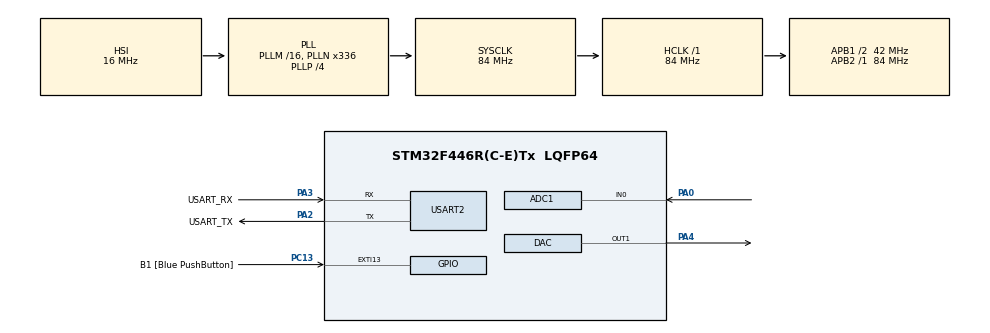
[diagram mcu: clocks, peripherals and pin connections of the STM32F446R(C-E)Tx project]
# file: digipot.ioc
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ADC1.Channel-0\#ChannelRegularConversion=ADC_CHANNEL_0
ADC1.ContinuousConvMode=ENABLE
ADC1.DMAContinuousRequests=ENABLE
ADC1.NbrOfConversionFlag=1
ADC1.Rank-0\#ChannelRegularConversion=1
ADC1.SamplingTime-0\#ChannelRegularConversion=ADC_SAMPLETIME_84CYCLES
ADC1.master=1
Dma.ADC1.0.Direction=DMA_PERIPH_TO_MEMORY
Dma.ADC1.0.FIFOMode=DMA_FIFOMODE_DISABLE
Dma.ADC1.0.Instance=DMA2_Stream0
Dma.ADC1.0.MemDataAlignment=DMA_MDATAALIGN_HALFWORD
Dma.ADC1.0.MemInc=DMA_MINC_ENABLE
Dma.ADC1.0.Mode=DMA_CIRCULAR
Dma.ADC1.0.PeriphDataAlignment=DMA_PDATAALIGN_HALFWORD
Dma.ADC1.0.PeriphInc=DMA_PINC_DISABLE
Dma.ADC1.0.Priority=DMA_PRIORITY_LOW
Dma.Request0=ADC1
Dma.Request1=USART2_RX
Dma.USART2_RX.1.Direction=DMA_PERIPH_TO_MEMORY
Dma.USART2_RX.1.FIFOMode=DMA_FIFOMODE_DISABLE
Dma.USART2_RX.1.Instance=DMA1_Stream5
Dma.USART2_RX.1.MemDataAlignment=DMA_MDATAALIGN_BYTE
Dma.USART2_RX.1.MemInc=DMA_MINC_ENABLE
Dma.USART2_RX.1.Mode=DMA_NORMAL
Dma.USART2_RX.1.PeriphDataAlignment=DMA_PDATAALIGN_BYTE
Dma.USART2_RX.1.PeriphInc=DMA_PINC_DISABLE
Dma.USART2_RX.1.Priority=DMA_PRIORITY_LOW
Mcu.Family=STM32F4
Mcu.Name=STM32F446R(C-E)Tx
Mcu.Package=LQFP64
NVIC.DMA1_Stream5_IRQn=true\:0\:0\:false\:false\:true\:false\:true\:true
NVIC.DMA2_Stream0_IRQn=true\:0\:0\:false\:false\:true\:false\:true\:true
NVIC.PriorityGroup=NVIC_PRIORITYGROUP_0
NVIC.TIM6_DAC_IRQn=true\:0\:0\:false\:false\:true\:true\:true\:true
NVIC.USART2_IRQn=true\:0\:0\:false\:false\:true\:true\:true\:true
PA0-WKUP.Signal=ADCx_IN0
PA13.GPIO_Label=TMS
PA13.Mode=Serial_Wire
PA13.Signal=SYS_JTMS-SWDIO
PA14.GPIO_Label=TCK
PA14.Mode=Serial_Wire
PA14.Signal=SYS_JTCK-SWCLK
PA2.GPIO_Label=USART_TX
PA2.Mode=Asynchronous
PA2.Signal=USART2_TX
PA3.GPIO_Label=USART_RX
PA3.Mode=Asynchronous
PA3.Signal=USART2_RX
PA4.Signal=COMP_DAC1_group
PA5.Signal=COMP_DAC2_group
PB3.GPIO_Label=SWO
PB3.Signal=SYS_JTDO-SWO
PC13.GPIO_Label=B1 [Blue PushButton]
PC13.GPIO_ModeDefaultEXTI=GPIO_MODE_IT_FALLING
PC13.Signal=GPXTI13
PC14-OSC32_IN.Mode=LSE-External-Oscillator
PC14-OSC32_IN.Signal=RCC_OSC32_IN
PC15-OSC32_OUT.Mode=LSE-External-Oscillator
PC15-OSC32_OUT.Signal=RCC_OSC32_OUT
PH0-OSC_IN.Mode=HSE-External-Oscillator
PH0-OSC_IN.Signal=RCC_OSC_IN
PH1-OSC_OUT.Mode=HSE-External-Oscillator
PH1-OSC_OUT.Signal=RCC_OSC_OUT
ProjectManager.HeapSize=0x200
ProjectManager.StackSize=0x400
ProjectManager.TargetToolchain=STM32CubeIDE
RCC.48MHZClocksFreq_Value=84000000
RCC.AHBFreq_Value=84000000
RCC.APB1CLKDivider=RCC_HCLK_DIV2
RCC.APB1Freq_Value=42000000
RCC.APB1TimFreq_Value=84000000
RCC.APB2Freq_Value=84000000
RCC.APB2TimFreq_Value=84000000
RCC.CortexFreq_Value=84000000
RCC.FLatency-AdvancedSettings=FLASH_LATENCY_2
RCC.HCLKFreq_Value=84000000
RCC.HSE_VALUE=8000000
RCC.HSI_VALUE=16000000
RCC.PLLN=336
RCC.PLLP=RCC_PLLP_DIV4
RCC.SYSCLKFreq_VALUE=84000000
RCC.SYSCLKSource=RCC_SYSCLKSOURCE_PLLCLK
RCC.USBFreq_Value=168000000
RCC.VCOOutputFreq_Value=336000000
SH.ADCx_IN0.0=ADC1_IN0,IN0
SH.COMP_DAC1_group.0=DAC_OUT1,DAC_OUT1
SH.COMP_DAC2_group.0=DAC_OUT2
USART2.VirtualMode=VM_ASYNC
board=NUCLEO-F446RE

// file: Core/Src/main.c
/* USER CODE BEGIN Header */
/**
  ******************************************************************************
  * @file           : main.c
  * @brief          : Main program body
  ******************************************************************************
  * @attention
  *
  * Copyright (c) 2026 STMicroelectronics.
  * All rights reserved.
  *
  * This software is licensed under terms that can be found in the LICENSE file
  * in the root directory of this software component.
  * If no LICENSE file comes with this software, it is provided AS-IS.
  *
  ******************************************************************************
  */
/* USER CODE END Header */
#include "main.h"

/* USER CODE BEGIN Includes */
#include <stdio.h>
#include <string.h>
/* USER CODE END Includes */

/* USER CODE BEGIN PD */

#define ADC_BUFFER_SIZE        32
#define DAC_MAX_VALUE          255
#define STABILITY_THRESHOLD    5

/* USER CODE END PD */

ADC_HandleTypeDef hadc1;
DMA_HandleTypeDef hdma_adc1;

DAC_HandleTypeDef hdac;

UART_HandleTypeDef huart2;
DMA_HandleTypeDef hdma_usart2_rx;

/* USER CODE BEGIN PV */

uint16_t adc_buffer[ADC_BUFFER_SIZE];
float resistance_lut[256];
char tx_buffer[128];
uint8_t rx_byte;
uint8_t calibration_requested = 0;
uint8_t test_requested = 0;
uint8_t enter_received = 0;

/* USER CODE END PV */

void SystemClock_Config(void);
static void MX_GPIO_Init(void);
static void MX_DMA_Init(void);
static void MX_USART2_UART_Init(void);
static void MX_ADC1_Init(void);
static void MX_DAC_Init(void);

/* USER CODE BEGIN 0 */

/* Sets the DAC output value using 8-bit right alignment */
void set_dac(uint8_t value)
{
    HAL_DAC_SetValue(&hdac,
                     DAC_CHANNEL_1,
					 DAC_ALIGN_8B_R,
                     value);
}

/* Sends a string through UART */
void uart_print(char *msg)
{
    HAL_UART_Transmit(&huart2,
                      (uint8_t*)msg,
                      strlen(msg),
                      HAL_MAX_DELAY);
}

/* Calculates the average value of the ADC buffer */
uint16_t adc_average(void)
{
    uint32_t sum = 0;

    for(int i = 0; i < ADC_BUFFER_SIZE; i++)
    {
        sum += adc_buffer[i];
    }

    return sum / ADC_BUFFER_SIZE;
}

/* Returns the maximum ADC value inside the buffer */
uint16_t adc_max(void)
{
    uint16_t max = adc_buffer[0];

    for(int i = 1; i < ADC_BUFFER_SIZE; i++)
    {
        if(adc_buffer[i] > max)
        {
            max = adc_buffer[i];
        }
    }

    return max;
}

/* Returns the minimum ADC value inside the buffer */
uint16_t adc_min(void)
{
    uint16_t min = adc_buffer[0];

    for(int i = 1; i < ADC_BUFFER_SIZE; i++)
    {
        if(adc_buffer[i] < min)
        {
            min = adc_buffer[i];
        }
    }

    return min;
}

/* Checks if the ADC readings are stable */
uint8_t adc_is_stable(void)
{
    uint16_t max = adc_max();

    uint16_t min = adc_min();

    if((max - min) < STABILITY_THRESHOLD)
    {
        return 1;
    }

    return 0;
}

/* Calculates the LDR resistance using the voltage divider equation */
float calculate_resistance(uint16_t adc)
{
    float v_adc;

    /* Fixed resistor value used in the voltage divider */
    float fixed_resistor = 10000.0;

    /* Converts ADC reading into voltage */
    v_adc = (3.3 * adc) / 4095.0;

    /* Prevents division by zero */
    if(v_adc <= 0.01)
    {
        return 999999.0;
    }

    /* Calculates the unknown resistance */
    return fixed_resistor * ((3.3 / v_adc) - 1.0);
}

/* Performs the full LUT calibration process */
void calibrate_lut(void)
{
    uint16_t adc;

    float resistance;

    uart_print("CALIBRATION STARTED\r\n");

    /* Sweeps all DAC values from 0 to 255 */
    for(uint16_t res = 0; res <= DAC_MAX_VALUE; res++)
    {
    	set_dac(res);

    	/* Waits for the system to settle */
        HAL_Delay(200);

        uint32_t timeout = HAL_GetTick();

        /* Waits until ADC readings become stable */
        while(!adc_is_stable())
        {
            if((HAL_GetTick() - timeout) > 3000)
            {
                uart_print("STABILITY TIMEOUT\r\n");

                break;
            }
        }

        /* Gets the averaged ADC value */
        adc = adc_average();

        /* Calculates the resistance */
        resistance = calculate_resistance(adc);

        /* Stores the resistance inside the LUT */
        resistance_lut[res] = resistance;

        /* Sends calibration data through UART in CSV format */
        sprintf(tx_buffer,
                "%d,%d,%.2f\r\n",
                res,
                adc,
                resistance);

        uart_print(tx_buffer);
    }

    uart_print("CALIBRATION FINISHED\r\n");
}

/* Tests specific DAC points manually */
void test_lut(void)
{
    uint8_t test_points[10] =
    {
        0,
        25,
        75,
        125,
		140,
        150,
        175,
        200,
		225,
        255
    };

    uart_print("TEST STARTED\r\n");

    for(int i = 0; i < 10; i++)
    {
        uint8_t res = test_points[i];

        /* Sets the DAC output */
        set_dac(res);

        /* Prints the current DAC value */
        sprintf(tx_buffer,
                "RES=%d\r\n",
                res);

        uart_print(tx_buffer);

        uart_print("PRESS ENTER\r\n");

        /* Waits for user confirmation */
        while(!enter_received)
        {
        }

        enter_received = 0;
    }

    uart_print("TEST FINISHED\r\n");
}

/* USER CODE END 0 */

int main(void)
{

  /* MCU Configuration--------------------------------------------------------*/

  /* Reset of all peripherals, Initializes the Flash interface and the Systick. */
  HAL_Init();

  /* Configure the system clock */
  SystemClock_Config();

  /* Initialize all configured peripherals */
  MX_GPIO_Init();
  MX_DMA_Init();
  MX_USART2_UART_Init();
  MX_ADC1_Init();
  MX_DAC_Init();
  /* USER CODE BEGIN 2 */

  HAL_DAC_Start(&hdac, DAC_CHANNEL_1);

  HAL_ADC_Start_DMA(&hadc1,
                    (uint32_t*)adc_buffer,
                    ADC_BUFFER_SIZE);

  HAL_UART_Receive_DMA(&huart2,
                       &rx_byte,
                       1);

//  set_dac(4095);

  /* USER CODE END 2 */

  /* Infinite loop */
  while (1)
  {

    /* USER CODE BEGIN 3 */

	  if(calibration_requested)
	  {
	      calibration_requested = 0;

	      calibrate_lut();
	  }

	  if(test_requested)
	      {
	          test_requested = 0;

	          test_lut();
	      }

  }
  /* USER CODE END 3 */
}

void SystemClock_Config(void)
{
  RCC_OscInitTypeDef RCC_OscInitStruct = {0};
  RCC_ClkInitTypeDef RCC_ClkInitStruct = {0};

  /** Configure the main internal regulator output voltage
  */
  __HAL_RCC_PWR_CLK_ENABLE();
  __HAL_PWR_VOLTAGESCALING_CONFIG(PWR_REGULATOR_VOLTAGE_SCALE3);

  /** Initializes the RCC Oscillators according to the specified parameters
  * in the RCC_OscInitTypeDef structure.
  */
  RCC_OscInitStruct.OscillatorType = RCC_OSCILLATORTYPE_HSI;
  RCC_OscInitStruct.HSIState = RCC_HSI_ON;
  RCC_OscInitStruct.HSICalibrationValue = RCC_HSICALIBRATION_DEFAULT;
  RCC_OscInitStruct.PLL.PLLState = RCC_PLL_ON;
  RCC_OscInitStruct.PLL.PLLSource = RCC_PLLSOURCE_HSI;
  RCC_OscInitStruct.PLL.PLLM = 16;
  RCC_OscInitStruct.PLL.PLLN = 336;
  RCC_OscInitStruct.PLL.PLLP = RCC_PLLP_DIV4;
  RCC_OscInitStruct.PLL.PLLQ = 2;
  RCC_OscInitStruct.PLL.PLLR = 2;
  if (HAL_RCC_OscConfig(&RCC_OscInitStruct) != HAL_OK)
  {
    Error_Handler();
  }

  /** Initializes the CPU, AHB and APB buses clocks
  */
  RCC_ClkInitStruct.ClockType = RCC_CLOCKTYPE_HCLK|RCC_CLOCKTYPE_SYSCLK
                              |RCC_CLOCKTYPE_PCLK1|RCC_CLOCKTYPE_PCLK2;
  RCC_ClkInitStruct.SYSCLKSource = RCC_SYSCLKSOURCE_PLLCLK;
  RCC_ClkInitStruct.AHBCLKDivider = RCC_SYSCLK_DIV1;
  RCC_ClkInitStruct.APB1CLKDivider = RCC_HCLK_DIV2;
  RCC_ClkInitStruct.APB2CLKDivider = RCC_HCLK_DIV1;

  if (HAL_RCC_ClockConfig(&RCC_ClkInitStruct, FLASH_LATENCY_2) != HAL_OK)
  {
    Error_Handler();
  }
}

static void MX_ADC1_Init(void)
{

  ADC_ChannelConfTypeDef sConfig = {0};

  /** Configure the global features of the ADC (Clock, Resolution, Data Alignment and number of conversion)
  */
  hadc1.Instance = ADC1;
  hadc1.Init.ClockPrescaler = ADC_CLOCK_SYNC_PCLK_DIV4;
  hadc1.Init.Resolution = ADC_RESOLUTION_12B;
  hadc1.Init.ScanConvMode = DISABLE;
  hadc1.Init.ContinuousConvMode = ENABLE;
  hadc1.Init.DiscontinuousConvMode = DISABLE;
  hadc1.Init.ExternalTrigConvEdge = ADC_EXTERNALTRIGCONVEDGE_NONE;
  hadc1.Init.ExternalTrigConv = ADC_SOFTWARE_START;
  hadc1.Init.DataAlign = ADC_DATAALIGN_RIGHT;
  hadc1.Init.NbrOfConversion = 1;
  hadc1.Init.DMAContinuousRequests = ENABLE;
  hadc1.Init.EOCSelection = ADC_EOC_SINGLE_CONV;
  if (HAL_ADC_Init(&hadc1) != HAL_OK)
  {
    Error_Handler();
  }

  /** Configure for the selected ADC regular channel its corresponding rank in the sequencer and its sample time.
  */
  sConfig.Channel = ADC_CHANNEL_0;
  sConfig.Rank = 1;
  sConfig.SamplingTime = ADC_SAMPLETIME_84CYCLES;
  if (HAL_ADC_ConfigChannel(&hadc1, &sConfig) != HAL_OK)
  {
    Error_Handler();
  }

}

static void MX_DAC_Init(void)
{

  DAC_ChannelConfTypeDef sConfig = {0};

  /** DAC Initialization
  */
  hdac.Instance = DAC;
  if (HAL_DAC_Init(&hdac) != HAL_OK)
  {
    Error_Handler();
  }

  /** DAC channel OUT1 config
  */
  sConfig.DAC_Trigger = DAC_TRIGGER_NONE;
  sConfig.DAC_OutputBuffer = DAC_OUTPUTBUFFER_ENABLE;
  if (HAL_DAC_ConfigChannel(&hdac, &sConfig, DAC_CHANNEL_1) != HAL_OK)
  {
    Error_Handler();
  }

}

static void MX_USART2_UART_Init(void)
{

  huart2.Instance = USART2;
  huart2.Init.BaudRate = 115200;
  huart2.Init.WordLength = UART_WORDLENGTH_8B;
  huart2.Init.StopBits = UART_STOPBITS_1;
  huart2.Init.Parity = UART_PARITY_NONE;
  huart2.Init.Mode = UART_MODE_TX_RX;
  huart2.Init.HwFlowCtl = UART_HWCONTROL_NONE;
  huart2.Init.OverSampling = UART_OVERSAMPLING_16;
  if (HAL_UART_Init(&huart2) != HAL_OK)
  {
    Error_Handler();
  }

}

static void MX_DMA_Init(void)
{

  /* DMA controller clock enable */
  __HAL_RCC_DMA2_CLK_ENABLE();
  __HAL_RCC_DMA1_CLK_ENABLE();

  /* DMA interrupt init */
  /* DMA1_Stream5_IRQn interrupt configuration */
  HAL_NVIC_SetPriority(DMA1_Stream5_IRQn, 0, 0);
  HAL_NVIC_EnableIRQ(DMA1_Stream5_IRQn);
  /* DMA2_Stream0_IRQn interrupt configuration */
  HAL_NVIC_SetPriority(DMA2_Stream0_IRQn, 0, 0);
  HAL_NVIC_EnableIRQ(DMA2_Stream0_IRQn);

}

static void MX_GPIO_Init(void)
{
  GPIO_InitTypeDef GPIO_InitStruct = {0};

  /* GPIO Ports Clock Enable */
  __HAL_RCC_GPIOC_CLK_ENABLE();
  __HAL_RCC_GPIOH_CLK_ENABLE();
  __HAL_RCC_GPIOA_CLK_ENABLE();
  __HAL_RCC_GPIOB_CLK_ENABLE();

  /*Configure GPIO pin : B1_Pin */
  GPIO_InitStruct.Pin = B1_Pin;
  GPIO_InitStruct.Mode = GPIO_MODE_IT_FALLING;
  GPIO_InitStruct.Pull = GPIO_NOPULL;
  HAL_GPIO_Init(B1_GPIO_Port, &GPIO_InitStruct);

}

/* USER CODE BEGIN 4 */

/* UART receive complete callback */
void HAL_UART_RxCpltCallback(UART_HandleTypeDef *huart)
{
	 /* Buffer used to store incoming commands */
    static char command_buffer[32];

    /* Current position inside the command buffer */
    static uint8_t index = 0;

    /* Checks if the interrupt came from USART2 */
    if(huart->Instance == USART2)
    {
    	/* Stores received characters until ENTER is pressed */
        if(rx_byte != '\r' && rx_byte != '\n')
        {
            command_buffer[index++] = rx_byte;
        }
        else
        {
        	/* Terminates the received string */
            command_buffer[index] = '\0';

            /* Starts calibration when receiving "CAL" */
            if(strcmp(command_buffer, "CAL") == 0)
            {
                calibration_requested = 1;
            }

            /* Starts test routine when receiving "TEST" */
            else if(strcmp(command_buffer, "TEST") == 0)
            {
                test_requested = 1;
            }

            /* Detects ENTER key during test mode */
            else if(index == 0)
            {
                enter_received = 1;
            }

            /* Resets buffer index for the next command */
            index = 0;
        }

        /* Restarts UART DMA reception */
        HAL_UART_Receive_DMA(&huart2,
                             &rx_byte,
                             1);
    }
}

/* USER CODE END 4 */

void Error_Handler(void)
{
  __disable_irq();
  while (1)
  {
  }
}
